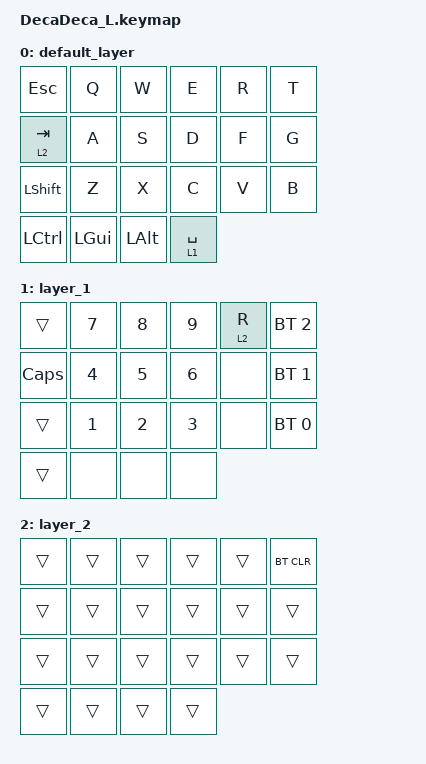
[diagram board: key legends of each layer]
#include <behaviors.dtsi>
#include <dt-bindings/zmk/bt.h>
#include <dt-bindings/zmk/keys.h>

/ {
    keymap {
        compatible = "zmk,keymap";

        default_layer {
            bindings = <
&kp ESCAPE  &kp Q     &kp W     &kp E        &kp R  &kp T
&lt 2 TAB   &kp A     &kp S     &kp D        &kp F  &kp G
&kp LSHFT   &kp Z     &kp X     &kp C        &kp V  &kp B
&kp LCTRL   &kp LGUI  &kp LALT  &lt 1 SPACE
            >;
        };

        layer_1 {
            bindings = <
&trans        &kp N7        &kp NUMBER_8  &kp NUMBER_9  &lt 2 R  &bt BT_SEL 2
&kp CAPSLOCK  &kp NUMBER_4  &kp NUMBER_5  &kp NUMBER_6  &none    &bt BT_SEL 1
&trans        &kp NUMBER_1  &kp NUMBER_2  &kp NUMBER_3  &none    &bt BT_SEL 0
&trans        &none         &none         &none
            >;
        };

        layer_2 {
            bindings = <
&trans  &trans  &trans  &trans  &trans  &bt BT_CLR
&trans  &trans  &trans  &trans  &trans  &trans
&trans  &trans  &trans  &trans  &trans  &trans
&trans  &trans  &trans  &trans
            >;
        };
    };
};
